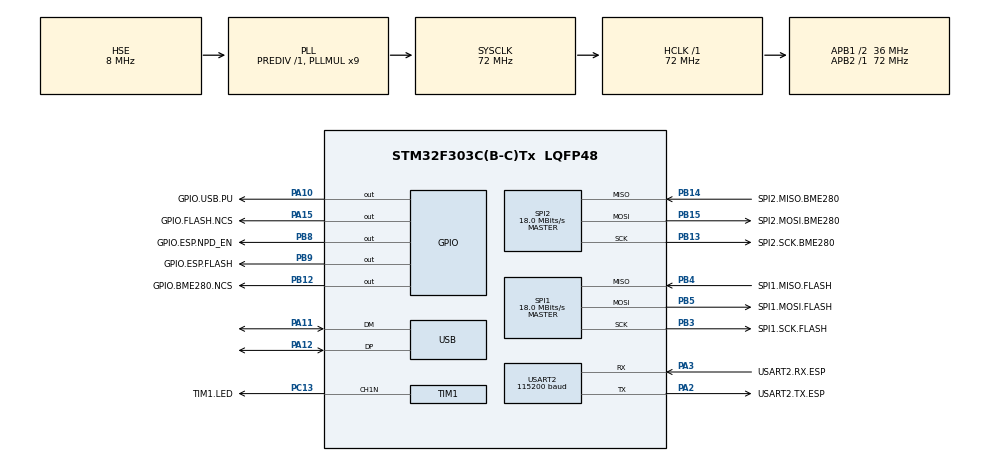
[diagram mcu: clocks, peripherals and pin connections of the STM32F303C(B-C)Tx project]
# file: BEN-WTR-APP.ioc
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Dma.Request0=SPI1_RX
Dma.Request1=SPI1_TX
Dma.Request2=SPI2_RX
Dma.Request3=SPI2_TX
Dma.Request4=USART2_RX
Dma.Request5=USART2_TX
Dma.SPI1_RX.0.Direction=DMA_PERIPH_TO_MEMORY
Dma.SPI1_RX.0.Instance=DMA1_Channel2
Dma.SPI1_RX.0.MemDataAlignment=DMA_MDATAALIGN_BYTE
Dma.SPI1_RX.0.MemInc=DMA_MINC_ENABLE
Dma.SPI1_RX.0.Mode=DMA_NORMAL
Dma.SPI1_RX.0.PeriphDataAlignment=DMA_PDATAALIGN_BYTE
Dma.SPI1_RX.0.PeriphInc=DMA_PINC_DISABLE
Dma.SPI1_RX.0.Priority=DMA_PRIORITY_LOW
Dma.SPI1_TX.1.Direction=DMA_MEMORY_TO_PERIPH
Dma.SPI1_TX.1.Instance=DMA1_Channel3
Dma.SPI1_TX.1.MemDataAlignment=DMA_MDATAALIGN_BYTE
Dma.SPI1_TX.1.MemInc=DMA_MINC_ENABLE
Dma.SPI1_TX.1.Mode=DMA_NORMAL
Dma.SPI1_TX.1.PeriphDataAlignment=DMA_PDATAALIGN_BYTE
Dma.SPI1_TX.1.PeriphInc=DMA_PINC_DISABLE
Dma.SPI1_TX.1.Priority=DMA_PRIORITY_LOW
Dma.SPI2_RX.2.Direction=DMA_PERIPH_TO_MEMORY
Dma.SPI2_RX.2.Instance=DMA1_Channel4
Dma.SPI2_RX.2.MemDataAlignment=DMA_MDATAALIGN_BYTE
Dma.SPI2_RX.2.MemInc=DMA_MINC_ENABLE
Dma.SPI2_RX.2.Mode=DMA_NORMAL
Dma.SPI2_RX.2.PeriphDataAlignment=DMA_PDATAALIGN_BYTE
Dma.SPI2_RX.2.PeriphInc=DMA_PINC_DISABLE
Dma.SPI2_RX.2.Priority=DMA_PRIORITY_LOW
Dma.SPI2_TX.3.Direction=DMA_MEMORY_TO_PERIPH
Dma.SPI2_TX.3.Instance=DMA1_Channel5
Dma.SPI2_TX.3.MemDataAlignment=DMA_MDATAALIGN_BYTE
Dma.SPI2_TX.3.MemInc=DMA_MINC_ENABLE
Dma.SPI2_TX.3.Mode=DMA_NORMAL
Dma.SPI2_TX.3.PeriphDataAlignment=DMA_PDATAALIGN_BYTE
Dma.SPI2_TX.3.PeriphInc=DMA_PINC_DISABLE
Dma.SPI2_TX.3.Priority=DMA_PRIORITY_LOW
Dma.USART2_RX.4.Direction=DMA_PERIPH_TO_MEMORY
Dma.USART2_RX.4.Instance=DMA1_Channel6
Dma.USART2_RX.4.MemDataAlignment=DMA_MDATAALIGN_BYTE
Dma.USART2_RX.4.MemInc=DMA_MINC_ENABLE
Dma.USART2_RX.4.Mode=DMA_CIRCULAR
Dma.USART2_RX.4.PeriphDataAlignment=DMA_PDATAALIGN_BYTE
Dma.USART2_RX.4.PeriphInc=DMA_PINC_DISABLE
Dma.USART2_RX.4.Priority=DMA_PRIORITY_LOW
Dma.USART2_TX.5.Direction=DMA_MEMORY_TO_PERIPH
Dma.USART2_TX.5.Instance=DMA1_Channel7
Dma.USART2_TX.5.MemDataAlignment=DMA_MDATAALIGN_BYTE
Dma.USART2_TX.5.MemInc=DMA_MINC_ENABLE
Dma.USART2_TX.5.Mode=DMA_NORMAL
Dma.USART2_TX.5.PeriphDataAlignment=DMA_PDATAALIGN_BYTE
Dma.USART2_TX.5.PeriphInc=DMA_PINC_DISABLE
Dma.USART2_TX.5.Priority=DMA_PRIORITY_LOW
Mcu.Family=STM32F3
Mcu.Name=STM32F303C(B-C)Tx
Mcu.Package=LQFP48
NVIC.DMA1_Channel2_IRQn=true\:0\:0\:false\:false\:true\:false\:true\:true
NVIC.DMA1_Channel3_IRQn=true\:0\:0\:false\:false\:true\:false\:true\:true
NVIC.DMA1_Channel4_IRQn=true\:0\:0\:false\:false\:true\:false\:true\:true
NVIC.DMA1_Channel7_IRQn=true\:0\:0\:false\:false\:true\:true\:true\:true
NVIC.PriorityGroup=NVIC_PRIORITYGROUP_4
NVIC.USB_LP_CAN_RX0_IRQn=true\:0\:0\:false\:false\:true\:false\:true\:true
PA10.GPIO_Label=GPIO.USB.PU
PA10.Signal=GPIO_Output
PA11.Mode=Device
PA11.Signal=USB_DM
PA12.Mode=Device
PA12.Signal=USB_DP
PA13.Mode=Serial_Wire
PA13.Signal=SYS_JTMS-SWDIO
PA14.Mode=Serial_Wire
PA14.Signal=SYS_JTCK-SWCLK
PA15.GPIO_Label=GPIO.FLASH.NCS
PA15.PinState=GPIO_PIN_SET
PA15.Signal=GPIO_Output
PA2.GPIO_Label=USART2.TX.ESP
PA2.Mode=Asynchronous
PA2.Signal=USART2_TX
PA3.GPIO_Label=USART2.RX.ESP
PA3.Mode=Asynchronous
PA3.Signal=USART2_RX
PB12.GPIO_Label=GPIO.BME280.NCS
PB12.PinState=GPIO_PIN_SET
PB12.Signal=GPIO_Output
PB13.GPIO_Label=SPI2.SCK.BME280
PB13.Mode=Full_Duplex_Master
PB13.Signal=SPI2_SCK
PB14.GPIO_Label=SPI2.MISO.BME280
PB14.Mode=Full_Duplex_Master
PB14.Signal=SPI2_MISO
PB15.GPIO_Label=SPI2.MOSI.BME280
PB15.Mode=Full_Duplex_Master
PB15.Signal=SPI2_MOSI
PB3.GPIO_Label=SPI1.SCK.FLASH
PB3.Mode=Full_Duplex_Master
PB3.Signal=SPI1_SCK
PB4.GPIO_Label=SPI1.MISO.FLASH
PB4.Mode=Full_Duplex_Master
PB4.Signal=SPI1_MISO
PB5.GPIO_Label=SPI1.MOSI.FLASH
PB5.Mode=Full_Duplex_Master
PB5.Signal=SPI1_MOSI
PB8.GPIO_Label=GPIO.ESP.NPD_EN
PB8.Signal=GPIO_Output
PB9.GPIO_Label=GPIO.ESP.FLASH
PB9.PinState=GPIO_PIN_RESET
PB9.Signal=GPIO_Output
PC13.GPIO_Label=TIM1.LED
PC13.Mode=PWM Generation1 CH1N
PC13.Signal=TIM1_CH1N
PF0-OSC_IN.Mode=HSE-External-Oscillator
PF0-OSC_IN.Signal=RCC_OSC_IN
PF1-OSC_OUT.Mode=HSE-External-Oscillator
PF1-OSC_OUT.Signal=RCC_OSC_OUT
ProjectManager.HeapSize=0x200
ProjectManager.StackSize=0x400
ProjectManager.TargetToolchain=STM32CubeIDE
RCC.AHBFreq_Value=72000000
RCC.APB1CLKDivider=RCC_HCLK_DIV2
RCC.APB1Freq_Value=36000000
RCC.APB1TimFreq_Value=72000000
RCC.APB2Freq_Value=72000000
RCC.APB2TimFreq_Value=72000000
RCC.CortexFreq_Value=72000000
RCC.HCLKFreq_Value=72000000
RCC.HSE_VALUE=8000000
RCC.HSI_VALUE=8000000
RCC.LSE_VALUE=32768
RCC.PLLMUL=RCC_PLL_MUL9
RCC.PRESCALERUSB=RCC_USBCLKSOURCE_PLL_DIV1_5
RCC.SYSCLKFreq_VALUE=72000000
RCC.SYSCLKSourceVirtual=RCC_SYSCLKSOURCE_PLLCLK
RCC.USBFreq_Value=48000000
SPI1.BaudRatePrescaler=SPI_BAUDRATEPRESCALER_4
SPI1.CalculateBaudRate=18.0 MBits/s
SPI1.DataSize=SPI_DATASIZE_8BIT
SPI1.Direction=SPI_DIRECTION_2LINES
SPI1.Mode=SPI_MODE_MASTER
SPI1.VirtualType=VM_MASTER
SPI2.CalculateBaudRate=18.0 MBits/s
SPI2.DataSize=SPI_DATASIZE_8BIT
SPI2.Direction=SPI_DIRECTION_2LINES
SPI2.Mode=SPI_MODE_MASTER
SPI2.VirtualType=VM_MASTER
TIM1.Channel-PWM\ Generation1\ CH1N=TIM_CHANNEL_1
TIM1.ClockDivision=TIM_CLOCKDIVISION_DIV4
TIM1.OCMode_PWM-PWM\ Generation1\ CH1N=TIM_OCMODE_PWM2
TIM1.OCNPolarity_1=TIM_OCNPOLARITY_HIGH
TIM1.Period=99
TIM1.Prescaler=359
USART2.BaudRate=115200
USART2.VirtualMode-Asynchronous=VM_ASYNC
USB_DEVICE.CLASS_NAME_FS=CDC
USB_DEVICE.PRODUCT_STRING_CDC_FS=BEN-WTR-APP
USB_DEVICE.VirtualMode=Cdc
USB_DEVICE.VirtualModeFS=Cdc_FS
VP_TIM1_VS_ClockSourceINT.Mode=Internal
VP_USB_DEVICE_VS_USB_DEVICE_CDC_FS.Mode=CDC_FS
board=custom

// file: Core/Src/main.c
/* USER CODE BEGIN Header */
/**
  ******************************************************************************
  * @file           : main.c
  * @brief          : Main program body
  ******************************************************************************
  * @attention
  *
  * Copyright (c) 2024 STMicroelectronics.
  * All rights reserved.
  *
  * This software is licensed under terms that can be found in the LICENSE file
  * in the root directory of this software component.
  * If no LICENSE file comes with this software, it is provided AS-IS.
  *
  ******************************************************************************
  */
/* USER CODE END Header */
#include "main.h"
#include "usb_device.h"

/* USER CODE BEGIN Includes */
#include "weather.h"
#include "bme280.h"
#include "led.h"
#include "usbHandler.h"
#include "usbStreamReader.h"
#include "fileStreamWriter.h"
#include "esp.h"
#include "espPost.h"
#include "espDriver.h"

/* USER CODE END Includes */

/* USER CODE BEGIN PV */
extern ESP_td esp;

/* USER CODE END PV */

void SystemClock_Config(void);
static void MX_GPIO_Init(void);
static void MX_DMA_Init(void);
static void MX_SPI1_Init(void);
static void MX_SPI2_Init(void);
static void MX_TIM1_Init(void);
static void MX_USART2_UART_Init(void);
/* USER CODE BEGIN PFP */
void MAIN_milli(void);

/* USER CODE END PFP */

int main(void)
{

  /* MCU Configuration--------------------------------------------------------*/

  /* Reset of all peripherals, Initializes the Flash interface and the Systick. */
  HAL_Init();

  /* Configure the system clock */
  SystemClock_Config();

  /* Initialize all configured peripherals */
  MX_GPIO_Init();
  MX_DMA_Init();
  MX_SPI1_Init();
  MX_SPI2_Init();
  MX_TIM1_Init();
  MX_USB_DEVICE_Init();
  MX_USART2_UART_Init();
  /* USER CODE BEGIN 2 */
  ESP_Initialize(&esp);
  ESP_Start(&esp);
  ESPDRV_Init();

  /* USER CODE END 2 */

  /* Infinite loop */
  while (1)
  {

    /* USER CODE BEGIN 3 */
	  static uint32_t milliTickLast;
	  if(milliTickLast != HAL_GetTick())
	  {
		  milliTickLast++;
		  MAIN_milli();
		  WTRPST_tick();
		  ESPDRV_milli();
	  }
  }
  /* USER CODE END 3 */
}

void SystemClock_Config(void)
{
  RCC_OscInitTypeDef RCC_OscInitStruct = {0};
  RCC_ClkInitTypeDef RCC_ClkInitStruct = {0};
  RCC_PeriphCLKInitTypeDef PeriphClkInit = {0};

  /** Initializes the RCC Oscillators according to the specified parameters
  * in the RCC_OscInitTypeDef structure.
  */
  RCC_OscInitStruct.OscillatorType = RCC_OSCILLATORTYPE_HSE;
  RCC_OscInitStruct.HSEState = RCC_HSE_ON;
  RCC_OscInitStruct.HSEPredivValue = RCC_HSE_PREDIV_DIV1;
  RCC_OscInitStruct.HSIState = RCC_HSI_ON;
  RCC_OscInitStruct.PLL.PLLState = RCC_PLL_ON;
  RCC_OscInitStruct.PLL.PLLSource = RCC_PLLSOURCE_HSE;
  RCC_OscInitStruct.PLL.PLLMUL = RCC_PLL_MUL9;
  if (HAL_RCC_OscConfig(&RCC_OscInitStruct) != HAL_OK)
  {
    Error_Handler();
  }

  /** Initializes the CPU, AHB and APB buses clocks
  */
  RCC_ClkInitStruct.ClockType = RCC_CLOCKTYPE_HCLK|RCC_CLOCKTYPE_SYSCLK
                              |RCC_CLOCKTYPE_PCLK1|RCC_CLOCKTYPE_PCLK2;
  RCC_ClkInitStruct.SYSCLKSource = RCC_SYSCLKSOURCE_PLLCLK;
  RCC_ClkInitStruct.AHBCLKDivider = RCC_SYSCLK_DIV1;
  RCC_ClkInitStruct.APB1CLKDivider = RCC_HCLK_DIV2;
  RCC_ClkInitStruct.APB2CLKDivider = RCC_HCLK_DIV1;

  if (HAL_RCC_ClockConfig(&RCC_ClkInitStruct, FLASH_LATENCY_2) != HAL_OK)
  {
    Error_Handler();
  }
  PeriphClkInit.PeriphClockSelection = RCC_PERIPHCLK_USB|RCC_PERIPHCLK_USART2
                              |RCC_PERIPHCLK_TIM1;
  PeriphClkInit.Usart2ClockSelection = RCC_USART2CLKSOURCE_PCLK1;
  PeriphClkInit.USBClockSelection = RCC_USBCLKSOURCE_PLL_DIV1_5;
  PeriphClkInit.Tim1ClockSelection = RCC_TIM1CLK_HCLK;
  if (HAL_RCCEx_PeriphCLKConfig(&PeriphClkInit) != HAL_OK)
  {
    Error_Handler();
  }
}

static void MX_SPI1_Init(void)
{

  LL_SPI_InitTypeDef SPI_InitStruct = {0};

  LL_GPIO_InitTypeDef GPIO_InitStruct = {0};

  /* Peripheral clock enable */
  LL_APB2_GRP1_EnableClock(LL_APB2_GRP1_PERIPH_SPI1);

  LL_AHB1_GRP1_EnableClock(LL_AHB1_GRP1_PERIPH_GPIOB);
  /**SPI1 GPIO Configuration
  PB3   ------> SPI1_SCK
  PB4   ------> SPI1_MISO
  PB5   ------> SPI1_MOSI
  */
  GPIO_InitStruct.Pin = LL_GPIO_PIN_3|LL_GPIO_PIN_4|LL_GPIO_PIN_5;
  GPIO_InitStruct.Mode = LL_GPIO_MODE_ALTERNATE;
  GPIO_InitStruct.Speed = LL_GPIO_SPEED_FREQ_HIGH;
  GPIO_InitStruct.OutputType = LL_GPIO_OUTPUT_PUSHPULL;
  GPIO_InitStruct.Pull = LL_GPIO_PULL_NO;
  GPIO_InitStruct.Alternate = LL_GPIO_AF_5;
  LL_GPIO_Init(GPIOB, &GPIO_InitStruct);

  /* SPI1 DMA Init */

  /* SPI1_RX Init */
  LL_DMA_SetDataTransferDirection(DMA1, LL_DMA_CHANNEL_2, LL_DMA_DIRECTION_PERIPH_TO_MEMORY);

  LL_DMA_SetChannelPriorityLevel(DMA1, LL_DMA_CHANNEL_2, LL_DMA_PRIORITY_LOW);

  LL_DMA_SetMode(DMA1, LL_DMA_CHANNEL_2, LL_DMA_MODE_NORMAL);

  LL_DMA_SetPeriphIncMode(DMA1, LL_DMA_CHANNEL_2, LL_DMA_PERIPH_NOINCREMENT);

  LL_DMA_SetMemoryIncMode(DMA1, LL_DMA_CHANNEL_2, LL_DMA_MEMORY_INCREMENT);

  LL_DMA_SetPeriphSize(DMA1, LL_DMA_CHANNEL_2, LL_DMA_PDATAALIGN_BYTE);

  LL_DMA_SetMemorySize(DMA1, LL_DMA_CHANNEL_2, LL_DMA_MDATAALIGN_BYTE);

  /* SPI1_TX Init */
  LL_DMA_SetDataTransferDirection(DMA1, LL_DMA_CHANNEL_3, LL_DMA_DIRECTION_MEMORY_TO_PERIPH);

  LL_DMA_SetChannelPriorityLevel(DMA1, LL_DMA_CHANNEL_3, LL_DMA_PRIORITY_LOW);

  LL_DMA_SetMode(DMA1, LL_DMA_CHANNEL_3, LL_DMA_MODE_NORMAL);

  LL_DMA_SetPeriphIncMode(DMA1, LL_DMA_CHANNEL_3, LL_DMA_PERIPH_NOINCREMENT);

  LL_DMA_SetMemoryIncMode(DMA1, LL_DMA_CHANNEL_3, LL_DMA_MEMORY_INCREMENT);

  LL_DMA_SetPeriphSize(DMA1, LL_DMA_CHANNEL_3, LL_DMA_PDATAALIGN_BYTE);

  LL_DMA_SetMemorySize(DMA1, LL_DMA_CHANNEL_3, LL_DMA_MDATAALIGN_BYTE);

  /* SPI1 parameter configuration*/
  SPI_InitStruct.TransferDirection = LL_SPI_FULL_DUPLEX;
  SPI_InitStruct.Mode = LL_SPI_MODE_MASTER;
  SPI_InitStruct.DataWidth = LL_SPI_DATAWIDTH_8BIT;
  SPI_InitStruct.ClockPolarity = LL_SPI_POLARITY_LOW;
  SPI_InitStruct.ClockPhase = LL_SPI_PHASE_1EDGE;
  SPI_InitStruct.NSS = LL_SPI_NSS_SOFT;
  SPI_InitStruct.BaudRate = LL_SPI_BAUDRATEPRESCALER_DIV4;
  SPI_InitStruct.BitOrder = LL_SPI_MSB_FIRST;
  SPI_InitStruct.CRCCalculation = LL_SPI_CRCCALCULATION_DISABLE;
  SPI_InitStruct.CRCPoly = 7;
  LL_SPI_Init(SPI1, &SPI_InitStruct);
  LL_SPI_SetStandard(SPI1, LL_SPI_PROTOCOL_MOTOROLA);
  LL_SPI_EnableNSSPulseMgt(SPI1);

}

static void MX_SPI2_Init(void)
{

  LL_SPI_InitTypeDef SPI_InitStruct = {0};

  LL_GPIO_InitTypeDef GPIO_InitStruct = {0};

  /* Peripheral clock enable */
  LL_APB1_GRP1_EnableClock(LL_APB1_GRP1_PERIPH_SPI2);

  LL_AHB1_GRP1_EnableClock(LL_AHB1_GRP1_PERIPH_GPIOB);
  /**SPI2 GPIO Configuration
  PB13   ------> SPI2_SCK
  PB14   ------> SPI2_MISO
  PB15   ------> SPI2_MOSI
  */
  GPIO_InitStruct.Pin = LL_GPIO_PIN_13|LL_GPIO_PIN_14|LL_GPIO_PIN_15;
  GPIO_InitStruct.Mode = LL_GPIO_MODE_ALTERNATE;
  GPIO_InitStruct.Speed = LL_GPIO_SPEED_FREQ_HIGH;
  GPIO_InitStruct.OutputType = LL_GPIO_OUTPUT_PUSHPULL;
  GPIO_InitStruct.Pull = LL_GPIO_PULL_NO;
  GPIO_InitStruct.Alternate = LL_GPIO_AF_5;
  LL_GPIO_Init(GPIOB, &GPIO_InitStruct);

  /* SPI2 DMA Init */

  /* SPI2_RX Init */
  LL_DMA_SetDataTransferDirection(DMA1, LL_DMA_CHANNEL_4, LL_DMA_DIRECTION_PERIPH_TO_MEMORY);

  LL_DMA_SetChannelPriorityLevel(DMA1, LL_DMA_CHANNEL_4, LL_DMA_PRIORITY_LOW);

  LL_DMA_SetMode(DMA1, LL_DMA_CHANNEL_4, LL_DMA_MODE_NORMAL);

  LL_DMA_SetPeriphIncMode(DMA1, LL_DMA_CHANNEL_4, LL_DMA_PERIPH_NOINCREMENT);

  LL_DMA_SetMemoryIncMode(DMA1, LL_DMA_CHANNEL_4, LL_DMA_MEMORY_INCREMENT);

  LL_DMA_SetPeriphSize(DMA1, LL_DMA_CHANNEL_4, LL_DMA_PDATAALIGN_BYTE);

  LL_DMA_SetMemorySize(DMA1, LL_DMA_CHANNEL_4, LL_DMA_MDATAALIGN_BYTE);

  /* SPI2_TX Init */
  LL_DMA_SetDataTransferDirection(DMA1, LL_DMA_CHANNEL_5, LL_DMA_DIRECTION_MEMORY_TO_PERIPH);

  LL_DMA_SetChannelPriorityLevel(DMA1, LL_DMA_CHANNEL_5, LL_DMA_PRIORITY_LOW);

  LL_DMA_SetMode(DMA1, LL_DMA_CHANNEL_5, LL_DMA_MODE_NORMAL);

  LL_DMA_SetPeriphIncMode(DMA1, LL_DMA_CHANNEL_5, LL_DMA_PERIPH_NOINCREMENT);

  LL_DMA_SetMemoryIncMode(DMA1, LL_DMA_CHANNEL_5, LL_DMA_MEMORY_INCREMENT);

  LL_DMA_SetPeriphSize(DMA1, LL_DMA_CHANNEL_5, LL_DMA_PDATAALIGN_BYTE);

  LL_DMA_SetMemorySize(DMA1, LL_DMA_CHANNEL_5, LL_DMA_MDATAALIGN_BYTE);

  /* SPI2 parameter configuration*/
  SPI_InitStruct.TransferDirection = LL_SPI_FULL_DUPLEX;
  SPI_InitStruct.Mode = LL_SPI_MODE_MASTER;
  SPI_InitStruct.DataWidth = LL_SPI_DATAWIDTH_8BIT;
  SPI_InitStruct.ClockPolarity = LL_SPI_POLARITY_LOW;
  SPI_InitStruct.ClockPhase = LL_SPI_PHASE_1EDGE;
  SPI_InitStruct.NSS = LL_SPI_NSS_SOFT;
  SPI_InitStruct.BaudRate = LL_SPI_BAUDRATEPRESCALER_DIV2;
  SPI_InitStruct.BitOrder = LL_SPI_MSB_FIRST;
  SPI_InitStruct.CRCCalculation = LL_SPI_CRCCALCULATION_DISABLE;
  SPI_InitStruct.CRCPoly = 7;
  LL_SPI_Init(SPI2, &SPI_InitStruct);
  LL_SPI_SetStandard(SPI2, LL_SPI_PROTOCOL_MOTOROLA);
  LL_SPI_EnableNSSPulseMgt(SPI2);
  /* USER CODE BEGIN SPI2_Init 2 */
  LL_DMA_SetPeriphAddress(DMA1, LL_DMA_CHANNEL_4, (uint32_t)&SPI2->DR);
  LL_DMA_SetPeriphAddress(DMA1, LL_DMA_CHANNEL_5, (uint32_t)&SPI2->DR);

  LL_SPI_EnableDMAReq_RX(SPI2);
  LL_SPI_EnableDMAReq_TX(SPI2);
  LL_SPI_Enable(SPI2);

  /* USER CODE END SPI2_Init 2 */

}

static void MX_TIM1_Init(void)
{

  LL_TIM_InitTypeDef TIM_InitStruct = {0};
  LL_TIM_OC_InitTypeDef TIM_OC_InitStruct = {0};
  LL_TIM_BDTR_InitTypeDef TIM_BDTRInitStruct = {0};

  LL_GPIO_InitTypeDef GPIO_InitStruct = {0};

  /* Peripheral clock enable */
  LL_APB2_GRP1_EnableClock(LL_APB2_GRP1_PERIPH_TIM1);

  TIM_InitStruct.Prescaler = 359;
  TIM_InitStruct.CounterMode = LL_TIM_COUNTERMODE_UP;
  TIM_InitStruct.Autoreload = 99;
  TIM_InitStruct.ClockDivision = LL_TIM_CLOCKDIVISION_DIV4;
  TIM_InitStruct.RepetitionCounter = 0;
  LL_TIM_Init(TIM1, &TIM_InitStruct);
  LL_TIM_DisableARRPreload(TIM1);
  LL_TIM_SetClockSource(TIM1, LL_TIM_CLOCKSOURCE_INTERNAL);
  LL_TIM_OC_EnablePreload(TIM1, LL_TIM_CHANNEL_CH1);
  TIM_OC_InitStruct.OCMode = LL_TIM_OCMODE_PWM2;
  TIM_OC_InitStruct.OCState = LL_TIM_OCSTATE_DISABLE;
  TIM_OC_InitStruct.OCNState = LL_TIM_OCSTATE_DISABLE;
  TIM_OC_InitStruct.CompareValue = 0;
  TIM_OC_InitStruct.OCPolarity = LL_TIM_OCPOLARITY_HIGH;
  TIM_OC_InitStruct.OCNPolarity = LL_TIM_OCPOLARITY_HIGH;
  TIM_OC_InitStruct.OCIdleState = LL_TIM_OCIDLESTATE_LOW;
  TIM_OC_InitStruct.OCNIdleState = LL_TIM_OCIDLESTATE_LOW;
  LL_TIM_OC_Init(TIM1, LL_TIM_CHANNEL_CH1, &TIM_OC_InitStruct);
  LL_TIM_OC_DisableFast(TIM1, LL_TIM_CHANNEL_CH1);
  LL_TIM_SetTriggerOutput(TIM1, LL_TIM_TRGO_RESET);
  LL_TIM_SetTriggerOutput2(TIM1, LL_TIM_TRGO2_RESET);
  LL_TIM_DisableMasterSlaveMode(TIM1);
  TIM_BDTRInitStruct.OSSRState = LL_TIM_OSSR_DISABLE;
  TIM_BDTRInitStruct.OSSIState = LL_TIM_OSSI_DISABLE;
  TIM_BDTRInitStruct.LockLevel = LL_TIM_LOCKLEVEL_OFF;
  TIM_BDTRInitStruct.DeadTime = 0;
  TIM_BDTRInitStruct.BreakState = LL_TIM_BREAK_DISABLE;
  TIM_BDTRInitStruct.BreakPolarity = LL_TIM_BREAK_POLARITY_HIGH;
  TIM_BDTRInitStruct.BreakFilter = LL_TIM_BREAK_FILTER_FDIV1;
  TIM_BDTRInitStruct.Break2State = LL_TIM_BREAK2_DISABLE;
  TIM_BDTRInitStruct.Break2Polarity = LL_TIM_BREAK2_POLARITY_HIGH;
  TIM_BDTRInitStruct.Break2Filter = LL_TIM_BREAK2_FILTER_FDIV1;
  TIM_BDTRInitStruct.AutomaticOutput = LL_TIM_AUTOMATICOUTPUT_DISABLE;
  LL_TIM_BDTR_Init(TIM1, &TIM_BDTRInitStruct);
  /* USER CODE BEGIN TIM1_Init 2 */

  LL_TIM_EnableAllOutputs(TIM1);
  LL_TIM_OC_SetCompareCH1(TIM4, 0);
  LL_TIM_EnableCounter(TIM1);
  LL_TIM_CC_EnableChannel(TIM1, LL_TIM_CHANNEL_CH1N);

  /* USER CODE END TIM1_Init 2 */
  LL_AHB1_GRP1_EnableClock(LL_AHB1_GRP1_PERIPH_GPIOC);
  /**TIM1 GPIO Configuration
  PC13   ------> TIM1_CH1N
  */
  GPIO_InitStruct.Pin = LL_GPIO_PIN_13;
  GPIO_InitStruct.Mode = LL_GPIO_MODE_ALTERNATE;
  GPIO_InitStruct.Speed = LL_GPIO_SPEED_FREQ_LOW;
  GPIO_InitStruct.OutputType = LL_GPIO_OUTPUT_PUSHPULL;
  GPIO_InitStruct.Pull = LL_GPIO_PULL_NO;
  GPIO_InitStruct.Alternate = LL_GPIO_AF_4;
  LL_GPIO_Init(GPIOC, &GPIO_InitStruct);

}

static void MX_USART2_UART_Init(void)
{

  LL_USART_InitTypeDef USART_InitStruct = {0};

  LL_GPIO_InitTypeDef GPIO_InitStruct = {0};

  /* Peripheral clock enable */
  LL_APB1_GRP1_EnableClock(LL_APB1_GRP1_PERIPH_USART2);

  LL_AHB1_GRP1_EnableClock(LL_AHB1_GRP1_PERIPH_GPIOA);
  /**USART2 GPIO Configuration
  PA2   ------> USART2_TX
  PA3   ------> USART2_RX
  */
  GPIO_InitStruct.Pin = LL_GPIO_PIN_2|LL_GPIO_PIN_3;
  GPIO_InitStruct.Mode = LL_GPIO_MODE_ALTERNATE;
  GPIO_InitStruct.Speed = LL_GPIO_SPEED_FREQ_HIGH;
  GPIO_InitStruct.OutputType = LL_GPIO_OUTPUT_PUSHPULL;
  GPIO_InitStruct.Pull = LL_GPIO_PULL_NO;
  GPIO_InitStruct.Alternate = LL_GPIO_AF_7;
  LL_GPIO_Init(GPIOA, &GPIO_InitStruct);

  /* USART2 DMA Init */

  /* USART2_RX Init */
  LL_DMA_SetDataTransferDirection(DMA1, LL_DMA_CHANNEL_6, LL_DMA_DIRECTION_PERIPH_TO_MEMORY);

  LL_DMA_SetChannelPriorityLevel(DMA1, LL_DMA_CHANNEL_6, LL_DMA_PRIORITY_LOW);

  LL_DMA_SetMode(DMA1, LL_DMA_CHANNEL_6, LL_DMA_MODE_CIRCULAR);

  LL_DMA_SetPeriphIncMode(DMA1, LL_DMA_CHANNEL_6, LL_DMA_PERIPH_NOINCREMENT);

  LL_DMA_SetMemoryIncMode(DMA1, LL_DMA_CHANNEL_6, LL_DMA_MEMORY_INCREMENT);

  LL_DMA_SetPeriphSize(DMA1, LL_DMA_CHANNEL_6, LL_DMA_PDATAALIGN_BYTE);

  LL_DMA_SetMemorySize(DMA1, LL_DMA_CHANNEL_6, LL_DMA_MDATAALIGN_BYTE);

  /* USART2_TX Init */
  LL_DMA_SetDataTransferDirection(DMA1, LL_DMA_CHANNEL_7, LL_DMA_DIRECTION_MEMORY_TO_PERIPH);

  LL_DMA_SetChannelPriorityLevel(DMA1, LL_DMA_CHANNEL_7, LL_DMA_PRIORITY_LOW);

  LL_DMA_SetMode(DMA1, LL_DMA_CHANNEL_7, LL_DMA_MODE_NORMAL);

  LL_DMA_SetPeriphIncMode(DMA1, LL_DMA_CHANNEL_7, LL_DMA_PERIPH_NOINCREMENT);

  LL_DMA_SetMemoryIncMode(DMA1, LL_DMA_CHANNEL_7, LL_DMA_MEMORY_INCREMENT);

  LL_DMA_SetPeriphSize(DMA1, LL_DMA_CHANNEL_7, LL_DMA_PDATAALIGN_BYTE);

  LL_DMA_SetMemorySize(DMA1, LL_DMA_CHANNEL_7, LL_DMA_MDATAALIGN_BYTE);

  USART_InitStruct.BaudRate = 115200;
  USART_InitStruct.DataWidth = LL_USART_DATAWIDTH_8B;
  USART_InitStruct.StopBits = LL_USART_STOPBITS_1;
  USART_InitStruct.Parity = LL_USART_PARITY_NONE;
  USART_InitStruct.TransferDirection = LL_USART_DIRECTION_TX_RX;
  USART_InitStruct.HardwareFlowControl = LL_USART_HWCONTROL_NONE;
  USART_InitStruct.OverSampling = LL_USART_OVERSAMPLING_16;
  LL_USART_Init(USART2, &USART_InitStruct);
  LL_USART_DisableIT_CTS(USART2);
  LL_USART_ConfigAsyncMode(USART2);
  LL_USART_Enable(USART2);

}

static void MX_DMA_Init(void)
{

  /* Init with LL driver */
  /* DMA controller clock enable */
  LL_AHB1_GRP1_EnableClock(LL_AHB1_GRP1_PERIPH_DMA1);

  /* DMA interrupt init */
  /* DMA1_Channel2_IRQn interrupt configuration */
  NVIC_SetPriority(DMA1_Channel2_IRQn, NVIC_EncodePriority(NVIC_GetPriorityGrouping(),0, 0));
  NVIC_EnableIRQ(DMA1_Channel2_IRQn);
  /* DMA1_Channel3_IRQn interrupt configuration */
  NVIC_SetPriority(DMA1_Channel3_IRQn, NVIC_EncodePriority(NVIC_GetPriorityGrouping(),0, 0));
  NVIC_EnableIRQ(DMA1_Channel3_IRQn);
  /* DMA1_Channel4_IRQn interrupt configuration */
  NVIC_SetPriority(DMA1_Channel4_IRQn, NVIC_EncodePriority(NVIC_GetPriorityGrouping(),0, 0));
  NVIC_EnableIRQ(DMA1_Channel4_IRQn);
  /* DMA1_Channel7_IRQn interrupt configuration */
  NVIC_SetPriority(DMA1_Channel7_IRQn, NVIC_EncodePriority(NVIC_GetPriorityGrouping(),0, 0));
  NVIC_EnableIRQ(DMA1_Channel7_IRQn);

}

static void MX_GPIO_Init(void)
{
  GPIO_InitTypeDef GPIO_InitStruct = {0};

  /* GPIO Ports Clock Enable */
  __HAL_RCC_GPIOC_CLK_ENABLE();
  __HAL_RCC_GPIOF_CLK_ENABLE();
  __HAL_RCC_GPIOA_CLK_ENABLE();
  __HAL_RCC_GPIOB_CLK_ENABLE();

  /*Configure GPIO pin Output Level */
  HAL_GPIO_WritePin(GPIO_BME280_NCS_GPIO_Port, GPIO_BME280_NCS_Pin, GPIO_PIN_SET);

  /*Configure GPIO pin Output Level */
  HAL_GPIO_WritePin(GPIO_USB_PU_GPIO_Port, GPIO_USB_PU_Pin, GPIO_PIN_RESET);

  /*Configure GPIO pin Output Level */
  HAL_GPIO_WritePin(GPIO_FLASH_NCS_GPIO_Port, GPIO_FLASH_NCS_Pin, GPIO_PIN_SET);

  /*Configure GPIO pin Output Level */
  HAL_GPIO_WritePin(GPIOB, GPIO_ESP_NPD_EN_Pin|GPIO_ESP_FLASH_Pin, GPIO_PIN_RESET);

  /*Configure GPIO pins : GPIO_BME280_NCS_Pin GPIO_ESP_NPD_EN_Pin GPIO_ESP_FLASH_Pin */
  GPIO_InitStruct.Pin = GPIO_BME280_NCS_Pin|GPIO_ESP_NPD_EN_Pin|GPIO_ESP_FLASH_Pin;
  GPIO_InitStruct.Mode = GPIO_MODE_OUTPUT_PP;
  GPIO_InitStruct.Pull = GPIO_NOPULL;
  GPIO_InitStruct.Speed = GPIO_SPEED_FREQ_LOW;
  HAL_GPIO_Init(GPIOB, &GPIO_InitStruct);

  /*Configure GPIO pins : GPIO_USB_PU_Pin GPIO_FLASH_NCS_Pin */
  GPIO_InitStruct.Pin = GPIO_USB_PU_Pin|GPIO_FLASH_NCS_Pin;
  GPIO_InitStruct.Mode = GPIO_MODE_OUTPUT_PP;
  GPIO_InitStruct.Pull = GPIO_NOPULL;
  GPIO_InitStruct.Speed = GPIO_SPEED_FREQ_LOW;
  HAL_GPIO_Init(GPIOA, &GPIO_InitStruct);

}

/* USER CODE BEGIN 4 */

/*----------------------------------------------------------------------------*/
/**
  * @brief  Millisecond tick interface
  * @param 	None
  * @retval None
  */
void MAIN_milli(void)
{
	WTR_milli();
	BME_milli();
	USBHND_milli();
	USR_millisecondTick();
	FSW_tick();
	ESP_tick();
}

/* USER CODE END 4 */

void Error_Handler(void)
{
  __disable_irq();
  while (1)
  {
  }
}
